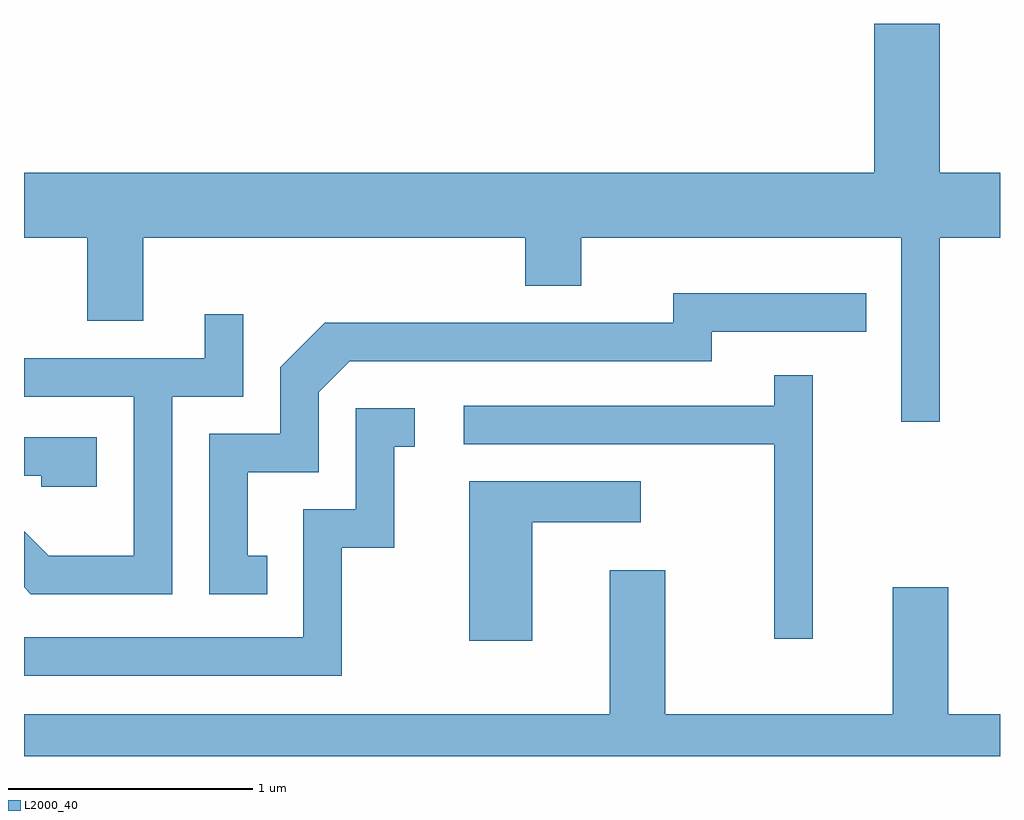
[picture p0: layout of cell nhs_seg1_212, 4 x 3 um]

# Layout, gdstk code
import gdstk
lib = gdstk.Library(unit=1e-6, precision=1e-09)
def P(c, l, *ps):  # polygons
    for p in ps: c.add(gdstk.Polygon(p, *l))
L2000_40 = (2000, 40)

nhs_seg1_212 = lib.new_cell('nhs_seg1_212')
P(nhs_seg1_212, L2000_40, [(195.364,861.836),(195.611,861.836),(195.611,862.104),(195.364,862.104),(195.364,862.714),(195.096,862.714),(195.096,862.104),(191.611,862.104),(191.611,861.836),(191.871,861.836),(191.871,861.496),(192.099,861.496),(192.099,861.836),(193.666,861.836),(193.666,861.641),(193.894,861.641),(193.894,861.836),(195.206,861.836),(195.206,861.083),(195.364,861.083)],
  [(192.608,860.534),(192.529,860.534),(192.529,860.876),(192.819,860.876),(192.819,861.204),(192.947,861.331),(194.429,861.331),(194.429,861.451),(195.063,861.451),(195.063,861.609),(194.271,861.609),(194.271,861.489),(192.844,861.489),(192.661,861.307),(192.661,861.034),(192.371,861.034),(192.371,860.376),(192.608,860.376)],
  [(192.219,861.186),(192.509,861.186),(192.509,861.523),(192.351,861.523),(192.351,861.344),(191.611,861.344),(191.611,861.186),(192.061,861.186),(192.061,860.534),(191.712,860.534),(191.611,860.635),(191.611,860.404),(191.639,860.376),(192.219,860.376)],
  [(194.844,861.273),(194.686,861.273),(194.686,861.149),(193.413,861.149),(193.413,860.991),(194.686,860.991),(194.686,860.193),(194.844,860.193)],
  [(192.914,860.566),(193.129,860.566),(193.129,860.981),(193.213,860.981),(193.213,861.139),(192.971,861.139),(192.971,860.724),(192.756,860.724),(192.756,860.199),(191.611,860.199),(191.611,860.041),(192.914,860.041)],
  [(191.909,861.019),(191.611,861.019),(191.611,860.861),(191.681,860.861),(191.681,860.816),(191.909,860.816)],
  [(193.694,860.671),(194.138,860.671),(194.138,860.839),(193.436,860.839),(193.436,860.186),(193.694,860.186)],
  [(195.611,859.884),(195.399,859.884),(195.399,860.404),(195.171,860.404),(195.171,859.884),(194.239,859.884),(194.239,860.474),(194.011,860.474),(194.011,859.884),(191.611,859.884),(191.611,859.712),(195.611,859.712)])

lib.write_gds('nhs_seg1_212.gds')
